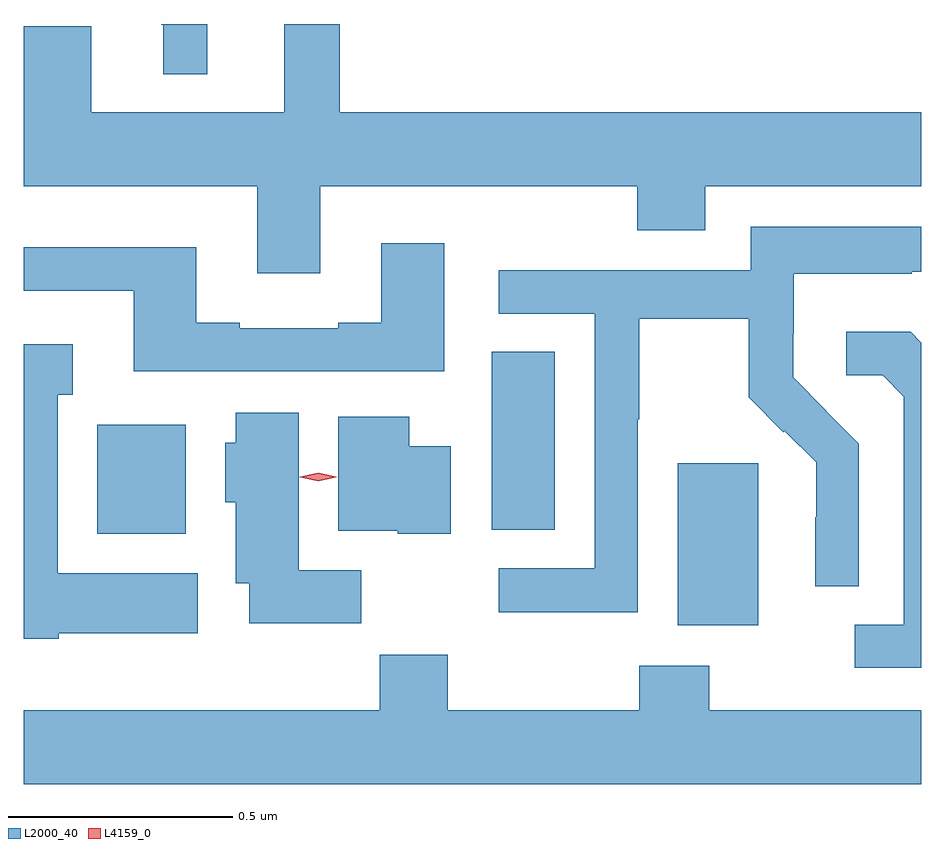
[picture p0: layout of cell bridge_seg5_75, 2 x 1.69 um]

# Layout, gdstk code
import gdstk
lib = gdstk.Library(unit=1e-6, precision=1e-09)
def R(c, l, rs):  # rectangles x0, y0, x1, y1
    for r in rs: c.add(gdstk.rectangle(r[:2], r[2:], *l))
def P(c, l, *ps):  # polygons
    for p in ps: c.add(gdstk.Polygon(p, *l))
L2000_40 = (2000, 40)
L4159_0 = (4159, 0)

bridge_seg5_75 = lib.new_cell('bridge_seg5_75')
R(bridge_seg5_75, L2000_40, [(192.407,843.794,192.586,844.155), (191.114,843.998,191.311,844.24), (191.993,844.006,192.133,844.403)])
P(bridge_seg5_75, L2000_40, [(191.611,844.772),(192.317,844.772),(192.317,844.673),(192.469,844.673),(192.469,844.772),(192.95,844.772),(192.95,844.936),(191.654,844.936),(191.654,845.133),(191.531,845.133),(191.531,844.936),(191.101,844.936),(191.101,845.128),(190.95,845.128),(190.95,844.772),(191.471,844.772),(191.471,844.578),(191.611,844.578)],
  [(191.359,845.133),(191.257,845.133),(191.257,845.131),(191.261,845.131),(191.261,845.021),(191.359,845.021)],
  [(192.318,844.252),(192.321,844.252),(192.321,844.476),(192.565,844.476),(192.565,844.301),(192.642,844.224),(192.645,844.227),(192.716,844.157),(192.716,844.034),(192.714,844.034),(192.714,843.88),(192.81,843.88),(192.81,844.198),(192.737,844.271),(192.738,844.272),(192.664,844.346),(192.664,844.443),(192.666,844.443),(192.666,844.577),(192.929,844.577),(192.929,844.581),(192.95,844.581),(192.95,844.681),(192.57,844.681),(192.57,844.584),(192.009,844.584),(192.009,844.488),(192.222,844.488),(192.222,843.921),(192.009,843.921),(192.009,843.823),(192.318,843.823)],
  [(191.887,844.645),(191.747,844.645),(191.747,844.468),(191.651,844.468),(191.651,844.455),(191.431,844.455),(191.431,844.468),(191.335,844.468),(191.335,844.636),(190.95,844.636),(190.95,844.539),(191.195,844.539),(191.195,844.359),(191.887,844.359)],
  [(192.95,844.423),(192.926,844.447),(192.783,844.447),(192.783,844.35),(192.864,844.35),(192.911,844.303),(192.911,843.795),(192.801,843.795),(192.801,843.699),(192.95,843.699)],
  [(191.028,843.776),(191.338,843.776),(191.338,843.91),(191.026,843.91),(191.026,844.307),(191.059,844.307),(191.059,844.42),(190.95,844.42),(190.95,843.764),(191.028,843.764)],
  [(191.702,843.916),(191.563,843.916),(191.563,844.267),(191.423,844.267),(191.423,844.2),(191.399,844.2),(191.399,844.068),(191.423,844.068),(191.423,843.887),(191.453,843.887),(191.453,843.798),(191.702,843.798)],
  [(191.902,844.192),(191.809,844.192),(191.809,844.258),(191.651,844.258),(191.651,844.004),(191.784,844.004),(191.784,843.998),(191.902,843.998)],
  [(192.322,843.703),(192.322,843.604),(191.895,843.604),(191.895,843.728),(191.743,843.728),(191.743,843.604),(190.95,843.604),(190.95,843.44),(192.95,843.44),(192.95,843.604),(192.477,843.604),(192.477,843.703)])
P(bridge_seg5_75, L4159_0, [(191.606,844.114),(191.566,844.123),(191.565,844.123),(191.566,844.124),(191.606,844.133),(191.647,844.124),(191.647,844.123),(191.647,844.123)])

lib.write_gds('bridge_seg5_75.gds')
